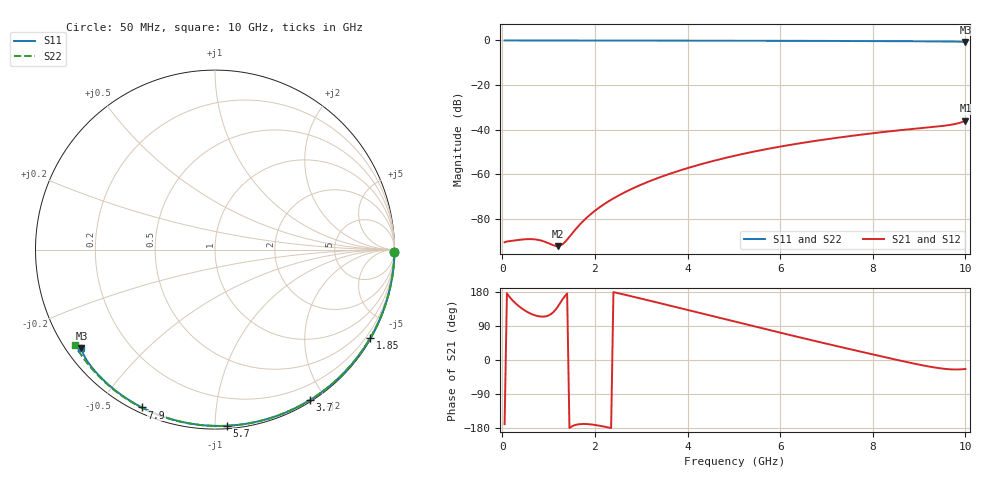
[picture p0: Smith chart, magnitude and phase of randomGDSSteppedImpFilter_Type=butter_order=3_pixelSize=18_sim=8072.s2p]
! freq	dB(S11)	phase(S11)	dB(S12)	phase(S12)
!  dB(S21)	phase(S21)	dB(S22)	phase(S22)
!S-par simulation data
#  GHz  S  DB  R 50
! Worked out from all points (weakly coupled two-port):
!   200 points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, 50 MHz to 10 GHz, reference 50 ohm
!   highest |S21| = -36.02 dB at 10 GHz (marker M1); lowest = -92.4 dB at 1.2 GHz (marker M2)
!   lowest |S11| = -0.7 dB at 10 GHz (marker M3), VSWR 25.59, Z = 2.17 - j16.4 ohm
!   |S11| at or under -10 dB: nowhere
!   |S22| runs from -0.5 to 0.0 dB; largest |S21 - S12| = 0
!   S11 on the Smith chart (normalised r, x): 50 MHz: open; 1.85 GHz: 0.03, -3.78; 3.7 GHz: 0.02, -1.81; 5.7 GHz: 0.02, -1.07; 7.9 GHz: 0.02, -0.64; 10 GHz: 0.04, -0.33
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0.05  -0.00 -0.8  -90.61 -169.3  -90.61 -169.3  -0.00 -0.8
0.6  -0.01 -9.7  -89.19 123.1  -89.19 123.1  -0.01 -10.1
1.2  -0.02 -19.4  -92.36 141.0  -92.36 141.0  -0.02 -20.1
1.75  -0.04 -28.1  -81.02 -168.8  -81.02 -168.8  -0.04 -29.2
1.8  -0.04 -28.9  -80.01 -168.9  -80.01 -168.9  -0.04 -30.0
1.85  -0.04 -29.6  -79.06 -169.2  -79.06 -169.2  -0.04 -30.8
2.15  -0.04 -34.3  -74.20 -174.5  -74.20 -174.5  -0.05 -35.7
2.5  -0.05 -39.7  -69.75 176.4  -69.75 176.4  -0.05 -41.3
2.9  -0.06 -45.9  -65.65 164.9  -65.65 164.9  -0.06 -47.6
3.4  -0.07 -53.4  -61.45 150.1  -61.45 150.1  -0.07 -55.4
3.7  -0.08 -57.8  -59.29 141.2  -59.29 141.2  -0.08 -60.0
4.35  -0.10 -67.3  -55.23 121.7  -55.23 121.7  -0.10 -69.8
5.05  -0.12 -77.2  -51.62 100.6  -51.62 100.6  -0.12 -80.0
5.7  -0.14 -86.1  -48.81 81.1  -48.81 81.1  -0.15 -89.2
6.7  -0.19 -99.4  -45.28 51.6  -45.28 51.6  -0.20 -102.9
7.3  -0.23 -107.2  -43.50 34.5  -43.50 34.5  -0.24 -110.9
7.9  -0.27 -114.9  -41.91 17.5  -41.91 17.5  -0.28 -118.7
8.35  -0.31 -120.6  -40.82 5.0  -40.82 5.0  -0.32 -124.5
9.05  -0.38 -129.5  -39.33 -13.5  -39.33 -13.5  -0.39 -133.5
9.6  -0.46 -136.9  -38.13 -23.9  -38.13 -23.9  -0.45 -140.6
9.85  -0.54 -140.8  -37.15 -25.0  -37.15 -25.0  -0.47 -143.8
10  -0.68 -143.6  -36.02 -23.6  -36.02 -23.6  -0.49 -145.7
